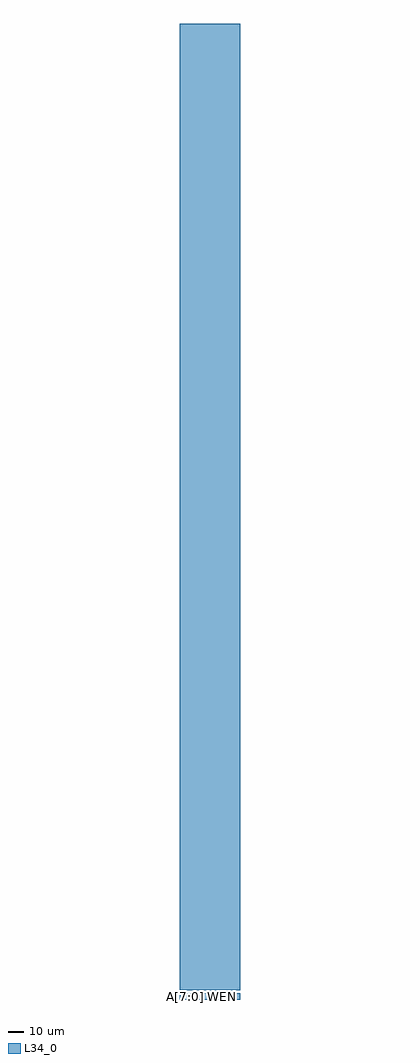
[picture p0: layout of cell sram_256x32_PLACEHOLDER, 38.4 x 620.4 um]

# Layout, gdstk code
import gdstk
lib = gdstk.Library(unit=1e-6, precision=1e-09)
def R(c, l, rs):  # rectangles x0, y0, x1, y1
    for r in rs: c.add(gdstk.rectangle(r[:2], r[2:], *l))
L34_0 = (34, 0)

sram_bitcell_6t_placehol = lib.new_cell('sram_bitcell_6t_PLACEHOLDER')
R(sram_bitcell_6t_placehol, L34_0, [(0,0,1.2,2.4)])
sram_bitcell_6t_placehol.add(gdstk.Label('PLACEHOLDER_NOT_A_REAL_BITCELL_SEE_ISSUE_21', (0,0), layer=34, texttype=10))

sram_256x32_placeholder = lib.new_cell('sram_256x32_PLACEHOLDER')
R(sram_256x32_placeholder, L34_0, [(0,-6,38.4,-2)])
r = gdstk.Reference(sram_bitcell_6t_placehol, (0,0)); r.repetition = gdstk.Repetition(32, 256, v1=(1.2,0), v2=(0,2.4)); sram_256x32_placeholder.add(r)
sram_256x32_placeholder.add(gdstk.Label('A[7:0]', (3.84,-4), layer=34, texttype=10))
sram_256x32_placeholder.add(gdstk.Label('CEN', (7.68,-4), layer=34, texttype=10))
sram_256x32_placeholder.add(gdstk.Label('CLK', (11.52,-4), layer=34, texttype=10))
sram_256x32_placeholder.add(gdstk.Label('D[31:0]', (15.36,-4), layer=34, texttype=10))
sram_256x32_placeholder.add(gdstk.Label('Q[31:0]', (19.2,-4), layer=34, texttype=10))
sram_256x32_placeholder.add(gdstk.Label('GWEN', (23.04,-4), layer=34, texttype=10))
sram_256x32_placeholder.add(gdstk.Label('WEN', (26.88,-4), layer=34, texttype=10))
sram_256x32_placeholder.add(gdstk.Label('VDD', (30.72,-4), layer=34, texttype=10))
sram_256x32_placeholder.add(gdstk.Label('VSS', (34.56,-4), layer=34, texttype=10))
sram_256x32_placeholder.add(gdstk.Label('PLACEHOLDER_NOT_A_REAL_ARRAY_SEE_ISSUE_21_AND_22', (19.2,-4), layer=34, texttype=10))

lib.write_gds('sram_256x32_PLACEHOLDER.gds')
